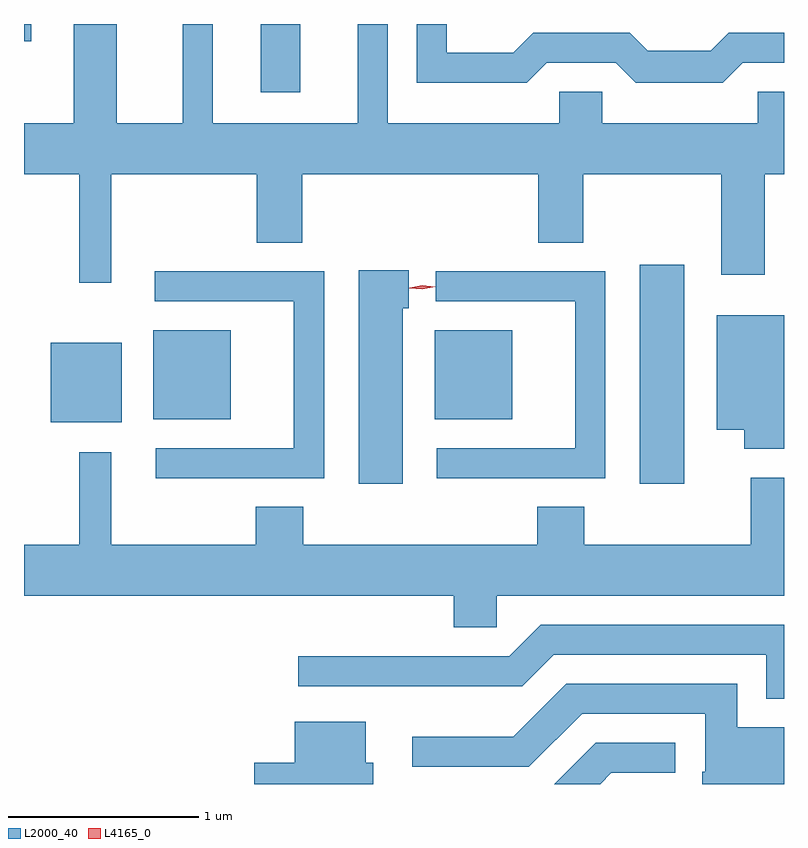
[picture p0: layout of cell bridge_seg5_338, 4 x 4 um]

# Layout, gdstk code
import gdstk
lib = gdstk.Library(unit=1e-6, precision=1e-09)
def R(c, l, rs):  # rectangles x0, y0, x1, y1
    for r in rs: c.add(gdstk.rectangle(r[:2], r[2:], *l))
def P(c, l, *ps):  # polygons
    for p in ps: c.add(gdstk.Polygon(p, *l))
L2000_40 = (2000, 40)
L4165_0 = (4165, 0)

bridge_seg5_338 = lib.new_cell('bridge_seg5_338')
R(bridge_seg5_338, L2000_40, [(808.741,1432.966,808.974,1434.119), (805.641,1433.291,806.014,1433.709), (806.181,1433.306,806.589,1433.774), (807.661,1433.306,808.069,1433.774), (806.746,1435.026,806.954,1435.386), (805.5,1435.296,805.538,1435.386)])
P(bridge_seg5_338, L2000_40, [(805.959,1434.596),(806.726,1434.596),(806.726,1434.236),(806.964,1434.236),(806.964,1434.596),(808.206,1434.596),(808.206,1434.236),(808.444,1434.236),(808.444,1434.596),(809.171,1434.596),(809.171,1434.066),(809.399,1434.066),(809.399,1434.596),(809.5,1434.596),(809.5,1435.029),(809.361,1435.029),(809.361,1434.864),(808.544,1434.864),(808.544,1435.029),(808.316,1435.029),(808.316,1434.864),(807.414,1434.864),(807.414,1435.386),(807.256,1435.386),(807.256,1434.864),(806.494,1434.864),(806.494,1435.386),(806.336,1435.386),(806.336,1434.864),(805.989,1434.864),(805.989,1435.386),(805.761,1435.386),(805.761,1434.864),(805.5,1434.864),(805.5,1434.596),(805.791,1434.596),(805.791,1434.023),(805.959,1434.023)],
  [(808.252,1435.181),(808.614,1435.181),(808.719,1435.076),(809.177,1435.076),(809.282,1435.181),(809.5,1435.181),(809.5,1435.339),(809.209,1435.339),(809.114,1435.244),(808.782,1435.244),(808.687,1435.339),(808.179,1435.339),(808.074,1435.234),(807.724,1435.234),(807.724,1435.386),(807.566,1435.386),(807.566,1435.076),(808.147,1435.076)],
  [(807.494,1433.891),(807.524,1433.891),(807.524,1434.089),(807.261,1434.089),(807.261,1432.966),(807.494,1432.966)],
  [(807.079,1434.084),(806.188,1434.084),(806.188,1433.926),(806.921,1433.926),(806.921,1433.154),(806.193,1433.154),(806.193,1432.996),(807.079,1432.996)],
  [(808.559,1434.084),(807.668,1434.084),(807.668,1433.926),(808.401,1433.926),(808.401,1433.154),(807.673,1433.154),(807.673,1432.996),(808.559,1432.996)],
  [(809.5,1433.854),(809.146,1433.854),(809.146,1433.251),(809.291,1433.251),(809.291,1433.151),(809.5,1433.151)],
  [(807.989,1432.376),(809.5,1432.376),(809.5,1432.999),(809.326,1432.999),(809.326,1432.644),(808.449,1432.644),(808.449,1432.844),(808.201,1432.844),(808.201,1432.644),(806.969,1432.644),(806.969,1432.844),(806.721,1432.844),(806.721,1432.644),(805.959,1432.644),(805.959,1433.133),(805.791,1433.133),(805.791,1432.644),(805.5,1432.644),(805.5,1432.376),(807.761,1432.376),(807.761,1432.211),(807.989,1432.211)],
  [(809.5,1432.224),(808.219,1432.224),(808.054,1432.059),(806.943,1432.059),(806.943,1431.901),(808.122,1431.901),(808.287,1432.066),(809.406,1432.066),(809.406,1431.836),(809.5,1431.836)],
  [(809.5,1431.684),(809.254,1431.684),(809.254,1431.914),(808.354,1431.914),(808.074,1431.634),(807.543,1431.634),(807.543,1431.476),(808.157,1431.476),(808.437,1431.756),(809.086,1431.756),(809.086,1431.45),(809.071,1431.45),(809.071,1431.386),(809.5,1431.386)],
  [(807.339,1431.499),(807.299,1431.499),(807.299,1431.714),(806.926,1431.714),(806.926,1431.499),(806.711,1431.499),(806.711,1431.386),(807.339,1431.386)],
  [(808.592,1431.446),(808.928,1431.446),(808.928,1431.604),(808.509,1431.604),(808.291,1431.386),(808.532,1431.386)])
P(bridge_seg5_338, L4165_0, [(807.596,1433.99),(807.53,1433.997),(807.529,1433.998),(807.53,1433.998),(807.595,1434.01),(807.662,1434.003),(807.662,1434.003),(807.662,1434.002)],
  [(807.597,1433.989),(807.527,1433.995),(807.527,1433.995),(807.527,1433.996),(807.595,1434.009),(807.665,1434.003),(807.665,1434.003),(807.665,1434.002)])

lib.write_gds('bridge_seg5_338.gds')
